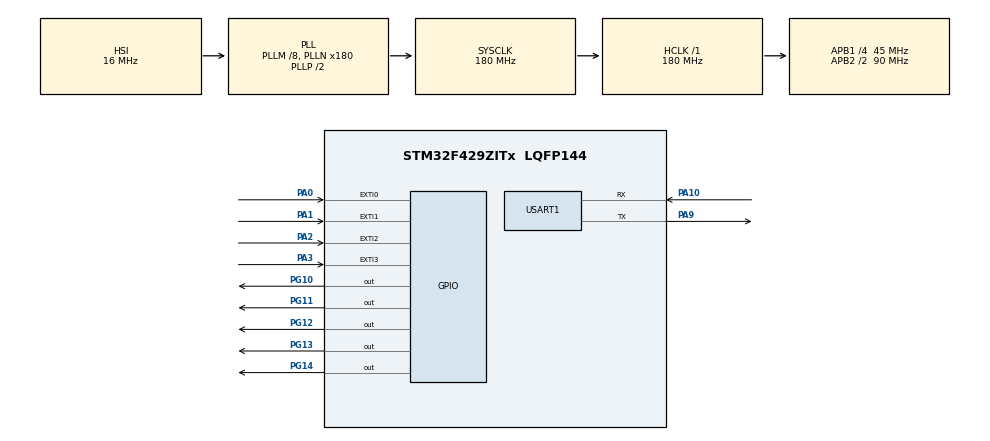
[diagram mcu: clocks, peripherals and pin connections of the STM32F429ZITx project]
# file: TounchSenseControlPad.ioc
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FREERTOS.INCLUDE_xEventGroupSetBitFromISR=1
FREERTOS.INCLUDE_xTimerPendFunctionCall=1
FREERTOS.Mutexes01=myMutex01,Dynamic,NULL,Available
FREERTOS.Tasks01=defaultTask,0,128,StartDefaultTask,Default,NULL,Dynamic,NULL,NULL
FREERTOS.Timers01=myTimer01,Callback01,osTimerPeriodic,Default,NULL,Dynamic,NULL
FREERTOS.configGENERATE_RUN_TIME_STATS=1
FREERTOS.configUSE_NEWLIB_REENTRANT=1
FREERTOS.configUSE_STATS_FORMATTING_FUNCTIONS=1
FREERTOS.configUSE_TIMERS=1
FREERTOS.configUSE_TRACE_FACILITY=1
Mcu.Family=STM32F4
Mcu.Name=STM32F429ZITx
Mcu.Package=LQFP144
NVIC.EXTI0_IRQn=true\:5\:0\:false\:false\:true\:true\:true\:true\:true
NVIC.EXTI1_IRQn=true\:5\:0\:false\:false\:true\:true\:true\:true\:true
NVIC.EXTI2_IRQn=true\:5\:0\:false\:false\:true\:true\:true\:true\:true
NVIC.EXTI3_IRQn=true\:5\:0\:false\:false\:true\:true\:true\:true\:true
NVIC.PriorityGroup=NVIC_PRIORITYGROUP_4
NVIC.TIM1_UP_TIM10_IRQn=true\:15\:0\:false\:false\:true\:false\:false\:true\:true
NVIC.TimeBase=TIM1_UP_TIM10_IRQn
NVIC.TimeBaseIP=TIM1
NVIC.USART1_IRQn=true\:5\:0\:false\:false\:true\:true\:true\:true\:true
PA0/WKUP.GPIO_ModeDefaultEXTI=GPIO_MODE_IT_RISING
PA0/WKUP.GPIO_PuPd=GPIO_PULLDOWN
PA0/WKUP.Signal=GPXTI0
PA1.GPIO_ModeDefaultEXTI=GPIO_MODE_IT_RISING
PA1.GPIO_PuPd=GPIO_PULLDOWN
PA1.Signal=GPXTI1
PA10.Mode=Asynchronous
PA10.Signal=USART1_RX
PA2.GPIO_ModeDefaultEXTI=GPIO_MODE_IT_RISING
PA2.GPIO_PuPd=GPIO_PULLDOWN
PA2.Signal=GPXTI2
PA3.GPIO_ModeDefaultEXTI=GPIO_MODE_IT_RISING
PA3.GPIO_PuPd=GPIO_PULLDOWN
PA3.Signal=GPXTI3
PA9.Mode=Asynchronous
PA9.Signal=USART1_TX
PG10.Signal=GPIO_Output
PG11.Signal=GPIO_Output
PG12.Signal=GPIO_Output
PG13.Signal=GPIO_Output
PG14.Signal=GPIO_Output
ProjectManager.HeapSize=0x200
ProjectManager.StackSize=0x400
ProjectManager.TargetToolchain=STM32CubeIDE
RCC.48MHZClocksFreq_Value=90000000
RCC.AHBFreq_Value=180000000
RCC.APB1CLKDivider=RCC_HCLK_DIV4
RCC.APB1Freq_Value=45000000
RCC.APB1TimFreq_Value=90000000
RCC.APB2CLKDivider=RCC_HCLK_DIV2
RCC.APB2Freq_Value=90000000
RCC.APB2TimFreq_Value=180000000
RCC.CortexFreq_Value=180000000
RCC.HCLKFreq_Value=180000000
RCC.HSE_VALUE=25000000
RCC.HSI_VALUE=16000000
RCC.LSE_VALUE=32768
RCC.PLLM=8
RCC.PLLN=180
RCC.SYSCLKFreq_VALUE=180000000
RCC.SYSCLKSource=RCC_SYSCLKSOURCE_PLLCLK
RCC.VCOOutputFreq_Value=360000000
USART1.VirtualMode=VM_ASYNC
VP_FREERTOS_VS_CMSIS_V1.Mode=CMSIS_V1
VP_SYS_VS_tim1.Mode=TIM1
board=custom

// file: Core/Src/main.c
/* USER CODE BEGIN Header */
/**
 ******************************************************************************
 * @file           : main.c
 * @brief          : Main program body
 ******************************************************************************
 * @attention
 *
 * Copyright (c) 2026 STMicroelectronics.
 * All rights reserved.
 *
 * This software is licensed under terms that can be found in the LICENSE file
 * in the root directory of this software component.
 * If no LICENSE file comes with this software, it is provided AS-IS.
 *
 ******************************************************************************
 */
/* USER CODE END Header */
#include "main.h"
#include "cmsis_os.h"

/* USER CODE BEGIN Includes */
#include<stdio.h>
#include<string.h>

/*======================= MACROS =======================*/
#define EMERGENCY_LED_PIN  GPIO_PIN_14
#define TASK1_LED_PIN      GPIO_PIN_10
#define TASK2_LED_PIN      GPIO_PIN_11
#define TASK3_LED_PIN      GPIO_PIN_12

#define	LED_PORT GPIOG

#define EMERGENCY_TASK_BIT	0x01
#define TASK1_BIT 			0x02
#define TASK2_BIT 			0x04
#define TASK3_BIT 			0x08

/* USER CODE END Includes */

UART_HandleTypeDef huart1;

//osThreadId defaultTaskHandle;
//osTimerId myTimer01Handle;
//osMutexId myMutex01Handle;

void SystemClock_Config(void);
static void MX_GPIO_Init(void);
static void MX_USART1_UART_Init(void);
//void StartDefaultTask(void const * argument);
//void Callback01(void const * argument);

/* USER CODE BEGIN 0 */

/*================ TASK PROTOTYPES ==================*/
void Task1(void *arg);
void Task2(void *arg);
void Task3(void *arg);
void Emergency_Task(void *arg);
void Control_Task(void *arg);
void UART_Task(void *arg);
void Timer_Task1(TimerHandle_t xTimer); //To print health for every 15sec
void Timer_Task2(TimerHandle_t xTimer); //To overcome bouncing effect

/* =============== PRINTF ============================*/
//To use printf()
int _write(int file, char *ptr, int len) {
	HAL_UART_Transmit(&huart1, (uint8_t*) ptr, (uint16_t) len, HAL_MAX_DELAY);
	return len;
}

/*==================== HANDLES =======================*/
SemaphoreHandle_t LED_Mutex;
SemaphoreHandle_t UART_Mutex;

TimerHandle_t TimerHandle1, TimerHandle2;
EventGroupHandle_t EventGroupHandle;
TaskHandle_t Emer_Handle, Task1_Handle, Task2_Handle, Task3_Handle,
		Control_Handle, UART_Handle;

uint8_t rx_char;
uint8_t status[50];
uint8_t i = 0;
/*============== COMMON LED TOGGLE FUNCTION ===========*/
void Toggle_LED(GPIO_TypeDef *port, uint16_t pin) {
	xSemaphoreTake(LED_Mutex, portMAX_DELAY);
	HAL_GPIO_TogglePin(port, pin);
	xSemaphoreGive(LED_Mutex);
}
/* USER CODE END 0 */

int main(void) {

	/* MCU Configuration--------------------------------------------------------*/

	/* Reset of all peripherals, Initializes the Flash interface and the Systick. */
	HAL_Init();

	/* Configure the system clock */
	SystemClock_Config();

	/* Initialize all configured peripherals */
	MX_GPIO_Init();
	MX_USART1_UART_Init();
	/* USER CODE BEGIN 2 */

	/*================ MUTEX CREATION =====================*/
	LED_Mutex = xSemaphoreCreateMutex(); //Mutex for Common Toggle LED function
	UART_Mutex = xSemaphoreCreateMutex(); //Mutex for UART

	/*=============== SOFTWARE TIMER CREATION =============*/
	TimerHandle1 = xTimerCreate("Timerpc", pdMS_TO_TICKS(15000), pdTRUE, 0,
			Timer_Task1);
	TimerHandle2 = xTimerCreate("Timer2_pc", pdMS_TO_TICKS(50), pdFALSE, 0,
			Timer_Task2);

	/*================= TASK CREATIONS ====================*/
	xTaskCreate(Emergency_Task, "Eme_task_pc", 128, NULL, 2, &Emer_Handle);
	xTaskCreate(Task1, "Task1_pc", 128, NULL, 1, &Task1_Handle);
	xTaskCreate(Task2, "Task2_pc", 128, NULL, 1, &Task2_Handle);
	xTaskCreate(Task3, "Task3_pc", 128, NULL, 1, &Task3_Handle);
	xTaskCreate(Control_Task, "Control_pc", 128, NULL, 2, &Control_Handle);
	xTaskCreate(UART_Task, "UART_pc", 128, NULL, 2, &UART_Handle);

	/*================EVENT GROUP CREATION============================*/
	EventGroupHandle = xEventGroupCreate();

	//Suspending all the tasks initially
	vTaskSuspend(Emer_Handle);
	vTaskSuspend(Task1_Handle);
	vTaskSuspend(Task2_Handle);
	vTaskSuspend(Task3_Handle);

	//Start the software timer
	xTimerStart(TimerHandle1, 0);

	HAL_UART_Receive_IT(&huart1, &rx_char, 1);

	//Start the scheduler
	vTaskStartScheduler();

	/* USER CODE END 2 */

	/* Create the mutex(es) */
	/* definition and creation of myMutex01 */
//  osMutexDef(myMutex01);
//  myMutex01Handle = osMutexCreate(osMutex(myMutex01));

	/* Create the timer(s) */
	/* definition and creation of myTimer01 */
//  osTimerDef(myTimer01, Callback01);
//  myTimer01Handle = osTimerCreate(osTimer(myTimer01), osTimerPeriodic, NULL);

	/* Create the thread(s) */
	/* definition and creation of defaultTask */
//  osThreadDef(defaultTask, StartDefaultTask, osPriorityNormal, 0, 128);
//  defaultTaskHandle = osThreadCreate(osThread(defaultTask), NULL);

	/* Start scheduler */
	//osKernelStart();
	/* We should never get here as control is now taken by the scheduler */

	/* Infinite loop */
	while (1) {

	}
}

void SystemClock_Config(void) {
	RCC_OscInitTypeDef RCC_OscInitStruct = { 0 };
	RCC_ClkInitTypeDef RCC_ClkInitStruct = { 0 };

	/** Configure the main internal regulator output voltage
	 */
	__HAL_RCC_PWR_CLK_ENABLE();
	__HAL_PWR_VOLTAGESCALING_CONFIG(PWR_REGULATOR_VOLTAGE_SCALE1);

	/** Initializes the RCC Oscillators according to the specified parameters
	 * in the RCC_OscInitTypeDef structure.
	 */
	RCC_OscInitStruct.OscillatorType = RCC_OSCILLATORTYPE_HSI;
	RCC_OscInitStruct.HSIState = RCC_HSI_ON;
	RCC_OscInitStruct.HSICalibrationValue = RCC_HSICALIBRATION_DEFAULT;
	RCC_OscInitStruct.PLL.PLLState = RCC_PLL_ON;
	RCC_OscInitStruct.PLL.PLLSource = RCC_PLLSOURCE_HSI;
	RCC_OscInitStruct.PLL.PLLM = 8;
	RCC_OscInitStruct.PLL.PLLN = 180;
	RCC_OscInitStruct.PLL.PLLP = RCC_PLLP_DIV2;
	RCC_OscInitStruct.PLL.PLLQ = 4;
	if (HAL_RCC_OscConfig(&RCC_OscInitStruct) != HAL_OK) {
		Error_Handler();
	}

	/** Activate the Over-Drive mode
	 */
	if (HAL_PWREx_EnableOverDrive() != HAL_OK) {
		Error_Handler();
	}

	/** Initializes the CPU, AHB and APB buses clocks
	 */
	RCC_ClkInitStruct.ClockType = RCC_CLOCKTYPE_HCLK | RCC_CLOCKTYPE_SYSCLK
			| RCC_CLOCKTYPE_PCLK1 | RCC_CLOCKTYPE_PCLK2;
	RCC_ClkInitStruct.SYSCLKSource = RCC_SYSCLKSOURCE_PLLCLK;
	RCC_ClkInitStruct.AHBCLKDivider = RCC_SYSCLK_DIV1;
	RCC_ClkInitStruct.APB1CLKDivider = RCC_HCLK_DIV4;
	RCC_ClkInitStruct.APB2CLKDivider = RCC_HCLK_DIV2;

	if (HAL_RCC_ClockConfig(&RCC_ClkInitStruct, FLASH_LATENCY_5) != HAL_OK) {
		Error_Handler();
	}
}

static void MX_USART1_UART_Init(void) {

	huart1.Instance = USART1;
	huart1.Init.BaudRate = 115200;
	huart1.Init.WordLength = UART_WORDLENGTH_8B;
	huart1.Init.StopBits = UART_STOPBITS_1;
	huart1.Init.Parity = UART_PARITY_NONE;
	huart1.Init.Mode = UART_MODE_TX_RX;
	huart1.Init.HwFlowCtl = UART_HWCONTROL_NONE;
	huart1.Init.OverSampling = UART_OVERSAMPLING_16;
	if (HAL_UART_Init(&huart1) != HAL_OK) {
		Error_Handler();
	}

}

static void MX_GPIO_Init(void) {
	GPIO_InitTypeDef GPIO_InitStruct = { 0 };

	/* GPIO Ports Clock Enable */
	__HAL_RCC_GPIOA_CLK_ENABLE();
	__HAL_RCC_GPIOG_CLK_ENABLE();

	/*Configure GPIO pin Output Level */
	HAL_GPIO_WritePin(GPIOG,
	GPIO_PIN_10 | GPIO_PIN_11 | GPIO_PIN_12 | GPIO_PIN_13 | GPIO_PIN_14,
			GPIO_PIN_RESET);

	/*Configure GPIO pins : PA0 PA1 PA2 PA3 */
	GPIO_InitStruct.Pin = GPIO_PIN_0 | GPIO_PIN_1 | GPIO_PIN_2 | GPIO_PIN_3;
	GPIO_InitStruct.Mode = GPIO_MODE_IT_RISING;
	GPIO_InitStruct.Pull = GPIO_PULLDOWN;
	HAL_GPIO_Init(GPIOA, &GPIO_InitStruct);

	/*Configure GPIO pins : PG10 PG11 PG12 PG13
	 PG14 */
	GPIO_InitStruct.Pin = GPIO_PIN_10 | GPIO_PIN_11 | GPIO_PIN_12 | GPIO_PIN_13
			| GPIO_PIN_14;
	GPIO_InitStruct.Mode = GPIO_MODE_OUTPUT_PP;
	GPIO_InitStruct.Pull = GPIO_NOPULL;
	GPIO_InitStruct.Speed = GPIO_SPEED_FREQ_LOW;
	HAL_GPIO_Init(GPIOG, &GPIO_InitStruct);

	/* EXTI interrupt init*/
	HAL_NVIC_SetPriority(EXTI0_IRQn, 5, 0);
	HAL_NVIC_EnableIRQ(EXTI0_IRQn);

	HAL_NVIC_SetPriority(EXTI1_IRQn, 5, 0);
	HAL_NVIC_EnableIRQ(EXTI1_IRQn);

	HAL_NVIC_SetPriority(EXTI2_IRQn, 5, 0);
	HAL_NVIC_EnableIRQ(EXTI2_IRQn);

	HAL_NVIC_SetPriority(EXTI3_IRQn, 5, 0);
	HAL_NVIC_EnableIRQ(EXTI3_IRQn);

}

/* USER CODE BEGIN 4 */
uint8_t bit;
//CONTROLLER TASK
void Control_Task(void *arg) {
	for (;;) {
		bit = xEventGroupWaitBits(EventGroupHandle, 0x01 | 0x02 | 0x04 | 0x08,
		pdTRUE, pdFALSE, portMAX_DELAY); // read the bit value and clear
		switch (bit) {
		case 0x01:	//If Emergency bit is set resume it and suspend remaining.
			vTaskResume(Emer_Handle);
			vTaskSuspend(Task1_Handle);
			vTaskSuspend(Task2_Handle);
			vTaskSuspend(Task3_Handle);
			break;

		case 0x02:		//If Task1 bit is set resume it and suspend remaining.
			vTaskResume(Task1_Handle);
			vTaskSuspend(Emer_Handle);
			vTaskSuspend(Task2_Handle);
			vTaskSuspend(Task3_Handle);
			break;

		case 0x04:		//If Task2 bit is set resume it and suspend remaining.
			vTaskResume(Task2_Handle);
			vTaskSuspend(Emer_Handle);
			vTaskSuspend(Task1_Handle);
			vTaskSuspend(Task3_Handle);
			break;

		case 0x08:		//If task3 bit is set resume it and suspend remaining.
			vTaskResume(Task3_Handle);
			vTaskSuspend(Emer_Handle);
			vTaskSuspend(Task2_Handle);
			vTaskSuspend(Task1_Handle);
			break;

		}
	}
}

//call back function when interrupt is given
uint32_t count;
void HAL_GPIO_EXTI_Callback(uint16_t GPIO_Pin) {
	BaseType_t xHigherPriorityTaskWoken = pdFALSE;
	xTimerStartFromISR(TimerHandle2, &xHigherPriorityTaskWoken);
	portYIELD_FROM_ISR(xHigherPriorityTaskWoken);
}

void HAL_UART_RxCpltCallback(UART_HandleTypeDef *huart) {
	if (huart->Instance == USART1) {
		status[i] = rx_char;
		i++;

		HAL_UART_Receive_IT(&huart1, &rx_char, 1);  // Restart UART interrupt

		if ((i == 7) || (i == 14)) {
			BaseType_t xHigherPriorityTaskWoken = pdFALSE;
			vTaskNotifyGiveFromISR(UART_Handle, &xHigherPriorityTaskWoken); // Notify UART task that new data arrived
			portYIELD_FROM_ISR(xHigherPriorityTaskWoken);
		}
	}
}

//Emergency task
void Emergency_Task(void *arg) {
	for (;;) {
		Toggle_LED(LED_PORT, EMERGENCY_LED_PIN);
		vTaskDelay(pdMS_TO_TICKS(250));
	}
}

//Task1 - Toggle LED for 500ms
void Task1(void *arg) {
	for (;;) {
		Toggle_LED(LED_PORT, TASK1_LED_PIN);
		vTaskDelay(pdMS_TO_TICKS(500));

	}
}
//Task2 - Toggle LED for 100ms
void Task2(void *arg) {
	for (;;) {
		Toggle_LED(LED_PORT, TASK2_LED_PIN);
		vTaskDelay(pdMS_TO_TICKS(1000));

	}
}
//Task3 - Toggle LED for 150ms
void Task3(void *arg) {
	for (;;) {
		Toggle_LED(LED_PORT, TASK3_LED_PIN);
		vTaskDelay(pdMS_TO_TICKS(1500));

	}
}

//Timer task to print the number of event changes for every 15 sec
void Timer_Task1(TimerHandle_t xTimer) {
	i = 0;
	//print how many times event changed
	xSemaphoreTake(UART_Mutex, portMAX_DELAY);
	printf("\r\nNo of times Events Changed: %d", count);
	xSemaphoreGive(UART_Mutex);
}

void Timer_Task2(TimerHandle_t xTimer) {
	if ((HAL_GPIO_ReadPin(GPIOA, GPIO_PIN_0)) == 1) {
		xEventGroupSetBits(EventGroupHandle, EMERGENCY_TASK_BIT);
		count++;
	} else if ((HAL_GPIO_ReadPin(GPIOA, GPIO_PIN_1)) == 1) {
		xEventGroupSetBits(EventGroupHandle, TASK1_BIT);
		count++;
	} else if ((HAL_GPIO_ReadPin(GPIOA, GPIO_PIN_2)) == 1) {
		xEventGroupSetBits(EventGroupHandle, TASK2_BIT);
		count++;
	} else if ((HAL_GPIO_ReadPin(GPIOA, GPIO_PIN_3)) == 1) {
		xEventGroupSetBits(EventGroupHandle, TASK3_BIT);
		count++;
	}
}

uint8_t health[500]; //health buffer

//UART task
void UART_Task(void *arg) {
	for (;;) {
		ulTaskNotifyTake(pdTRUE, portMAX_DELAY);
		if ((!strncmp((char*) status, "STATUS?", 7))) {
			vTaskList(health); //Lists all the tasks
			xSemaphoreTake(UART_Mutex, portMAX_DELAY);
			printf("\r\n%s", health);
			xSemaphoreGive(UART_Mutex);
		}
		//user changing to emergency mode
		else if (!(strncmp((char*) status, "SET_MODE=EMERG", 14))) {
			xEventGroupSetBits(EventGroupHandle, EMERGENCY_TASK_BIT);
			count++;
		}
		//user changing to task1 mode
		else if (!(strncmp((char*) status, "SET_MODE=TASK1", 14))) {
			xEventGroupSetBits(EventGroupHandle, TASK1_BIT);
			count++;
		}
		//user changing to task2 mode
		else if (!(strncmp((char*) status, "SET_MODE=TASK2", 14))) {
			xEventGroupSetBits(EventGroupHandle, TASK2_BIT);
			count++;

		}
		//user changing to task3 mode
		else if (!(strncmp((char*) status, "SET_MODE=TASK3", 14))) {
			xEventGroupSetBits(EventGroupHandle, TASK3_BIT);
			count++;
		}
	}
}

/* USER CODE END 4 */

//void StartDefaultTask(void const * argument)
//{
/* USER CODE BEGIN 5 */
/* Infinite loop */
//  for(;;)
//  {
//    osDelay(1);
//  }
/* USER CODE END 5 */
//}
/* Callback01 function */
//void Callback01(void const * argument)
//{
//}
void HAL_TIM_PeriodElapsedCallback(TIM_HandleTypeDef *htim) {
	if (htim->Instance == TIM1) {
		HAL_IncTick();
	}
}

void Error_Handler(void) {
	__disable_irq();
	while (1) {
	}
}

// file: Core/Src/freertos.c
/* USER CODE BEGIN Header */
/**
  ******************************************************************************
  * File Name          : freertos.c
  * Description        : Code for freertos applications
  ******************************************************************************
  * @attention
  *
  * Copyright (c) 2026 STMicroelectronics.
  * All rights reserved.
  *
  * This software is licensed under terms that can be found in the LICENSE file
  * in the root directory of this software component.
  * If no LICENSE file comes with this software, it is provided AS-IS.
  *
  ******************************************************************************
  */
/* USER CODE END Header */

#include "FreeRTOS.h"
#include "task.h"
#include "main.h"

/* GetIdleTaskMemory prototype (linked to static allocation support) */
void vApplicationGetIdleTaskMemory( StaticTask_t **ppxIdleTaskTCBBuffer, StackType_t **ppxIdleTaskStackBuffer, uint32_t *pulIdleTaskStackSize );

/* GetTimerTaskMemory prototype (linked to static allocation support) */
void vApplicationGetTimerTaskMemory( StaticTask_t **ppxTimerTaskTCBBuffer, StackType_t **ppxTimerTaskStackBuffer, uint32_t *pulTimerTaskStackSize );

/* Hook prototypes */
void configureTimerForRunTimeStats(void);
unsigned long getRunTimeCounterValue(void);

/* USER CODE BEGIN 1 */
/* Functions needed when configGENERATE_RUN_TIME_STATS is on */
__weak void configureTimerForRunTimeStats(void)
{

}

__weak unsigned long getRunTimeCounterValue(void)
{
return 0;
}
/* USER CODE END 1 */

/* USER CODE BEGIN GET_IDLE_TASK_MEMORY */
static StaticTask_t xIdleTaskTCBBuffer;
static StackType_t xIdleStack[configMINIMAL_STACK_SIZE];

void vApplicationGetIdleTaskMemory( StaticTask_t **ppxIdleTaskTCBBuffer, StackType_t **ppxIdleTaskStackBuffer, uint32_t *pulIdleTaskStackSize )
{
  *ppxIdleTaskTCBBuffer = &xIdleTaskTCBBuffer;
  *ppxIdleTaskStackBuffer = &xIdleStack[0];
  *pulIdleTaskStackSize = configMINIMAL_STACK_SIZE;
  /* place for user code */
}
/* USER CODE END GET_IDLE_TASK_MEMORY */

/* USER CODE BEGIN GET_TIMER_TASK_MEMORY */
static StaticTask_t xTimerTaskTCBBuffer;
static StackType_t xTimerStack[configTIMER_TASK_STACK_DEPTH];

void vApplicationGetTimerTaskMemory( StaticTask_t **ppxTimerTaskTCBBuffer, StackType_t **ppxTimerTaskStackBuffer, uint32_t *pulTimerTaskStackSize )
{
  *ppxTimerTaskTCBBuffer = &xTimerTaskTCBBuffer;
  *ppxTimerTaskStackBuffer = &xTimerStack[0];
  *pulTimerTaskStackSize = configTIMER_TASK_STACK_DEPTH;
  /* place for user code */
}
/* USER CODE END GET_TIMER_TASK_MEMORY */
